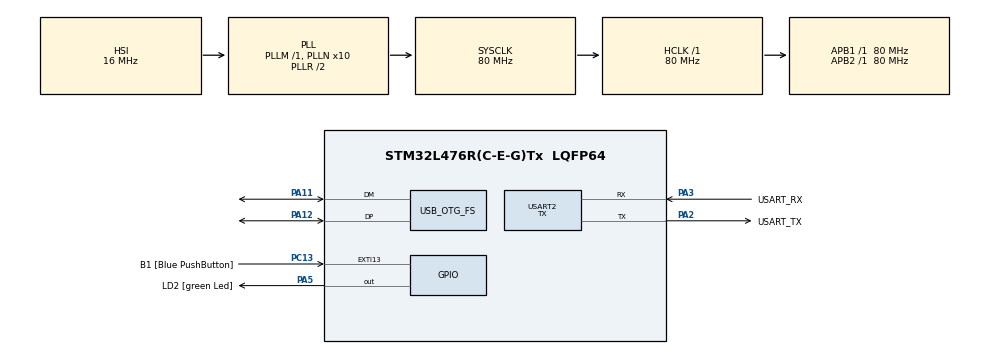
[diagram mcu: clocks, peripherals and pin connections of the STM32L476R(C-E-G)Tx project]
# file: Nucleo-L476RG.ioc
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Mcu.Family=STM32L4
Mcu.Name=STM32L476R(C-E-G)Tx
Mcu.Package=LQFP64
NVIC.OTG_FS_IRQn=true\:0\:0\:false\:false\:true\:false
NVIC.PriorityGroup=NVIC_PRIORITYGROUP_4
PA11.Mode=Device_Only
PA11.Signal=USB_OTG_FS_DM
PA12.Mode=Device_Only
PA12.Signal=USB_OTG_FS_DP
PA13\ (JTMS-SWDIO).GPIO_Label=TMS
PA13\ (JTMS-SWDIO).Mode=Trace_Asynchronous_SW
PA13\ (JTMS-SWDIO).Signal=SYS_JTMS-SWDIO
PA14\ (JTCK-SWCLK).GPIO_Label=TCK
PA14\ (JTCK-SWCLK).Mode=Trace_Asynchronous_SW
PA14\ (JTCK-SWCLK).Signal=SYS_JTCK-SWCLK
PA2.GPIO_Label=USART_TX
PA2.GPIO_Mode=GPIO_MODE_AF_PP
PA2.GPIO_PuPd=GPIO_NOPULL
PA2.GPIO_Speed=GPIO_SPEED_FREQ_VERY_HIGH
PA2.Mode=Asynchronous
PA2.Signal=USART2_TX
PA3.GPIO_Label=USART_RX
PA3.GPIO_Mode=GPIO_MODE_AF_PP
PA3.GPIO_PuPd=GPIO_NOPULL
PA3.GPIO_Speed=GPIO_SPEED_FREQ_VERY_HIGH
PA3.Mode=Asynchronous
PA3.Signal=USART2_RX
PA5.GPIO_Label=LD2 [green Led]
PA5.GPIO_ModeDefaultOutputPP=GPIO_MODE_OUTPUT_PP
PA5.GPIO_PuPd=GPIO_NOPULL
PA5.GPIO_Speed=GPIO_SPEED_FREQ_LOW
PA5.Signal=GPIO_Output
PB3\ (JTDO-TRACESWO).GPIO_Label=SWO
PB3\ (JTDO-TRACESWO).Mode=Trace_Asynchronous_SW
PB3\ (JTDO-TRACESWO).Signal=SYS_JTDO-SWO
PC13.GPIO_Label=B1 [Blue PushButton]
PC13.GPIO_ModeDefaultEXTI=GPIO_MODE_IT_FALLING
PC13.GPIO_PuPd=GPIO_NOPULL
PC13.Signal=GPXTI13
PC14-OSC32_IN\ (PC14).Mode=LSE-External-Oscillator
PC14-OSC32_IN\ (PC14).Signal=RCC_OSC32_IN
PC15-OSC32_OUT\ (PC15).Mode=LSE-External-Oscillator
PC15-OSC32_OUT\ (PC15).Signal=RCC_OSC32_OUT
PH0-OSC_IN\ (PH0).Signal=RCC_OSC_IN
PH1-OSC_OUT\ (PH1).Signal=RCC_OSC_OUT
ProjectManager.HeapSize=0x200
ProjectManager.StackSize=0xf000
ProjectManager.TargetToolchain=TrueSTUDIO
RCC.ADCFreq_Value=64000000
RCC.AHBFreq_Value=80000000
RCC.APB1Freq_Value=80000000
RCC.APB1TimFreq_Value=80000000
RCC.APB2Freq_Value=80000000
RCC.APB2TimFreq_Value=80000000
RCC.CK48CLockSelection=RCC_USBCLKSOURCE_MSI
RCC.CortexFreq_Value=80000000
RCC.HCLKFreq_Value=80000000
RCC.HSE_VALUE=8000000
RCC.HSI_VALUE=16000000
RCC.MSIClockRange=RCC_MSIRANGE_11
RCC.MSI_VALUE=48000000
RCC.PLLN=10
RCC.PLLSourceVirtual=RCC_PLLSOURCE_HSI
RCC.PREFETCH_ENABLE=1
RCC.RTCClockSelection=RCC_RTCCLKSOURCE_LSE
RCC.SYSCLKFreq_VALUE=80000000
RCC.SYSCLKSource=RCC_SYSCLKSOURCE_PLLCLK
RCC.USBFreq_Value=48000000
RCC.VCOOutputFreq_Value=160000000
RTC.Format=RTC_FORMAT_BIN
USART2.Mode=MODE_TX
USART2.VirtualMode-Asynchronous=VM_ASYNC
USART2.WordLength=WORDLENGTH_8B
USB_DEVICE.CLASS_NAME_FS=CDC
USB_DEVICE.VirtualMode=Cdc
USB_DEVICE.VirtualModeFS=Cdc_FS
USB_OTG_FS.VirtualMode=Device_Only
VP_RNG_VS_RNG.Mode=RNG_Activate
VP_RTC_VS_RTC_Activate.Mode=RTC_Enabled
VP_RTC_VS_RTC_Calendar.Mode=RTC_Calendar
VP_USB_DEVICE_VS_USB_DEVICE_CDC_FS.Mode=CDC_FS
board=NUCLEO-L476RG

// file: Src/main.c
/**
  ******************************************************************************
  * @file           : main.c
  * @brief          : Main program body
  ******************************************************************************
  * This notice applies to any and all portions of this file
  * that are not between comment pairs USER CODE BEGIN and
  * USER CODE END. Other portions of this file, whether
  * inserted by the user or by software development tools
  * are owned by their respective copyright owners.
  *
  * Copyright (c) 2018 STMicroelectronics International N.V.
  * All rights reserved.
  *
  * Redistribution and use in source and binary forms, with or without
  * modification, are permitted, provided that the following conditions are met:
  *
  * 1. Redistribution of source code must retain the above copyright notice,
  *    this list of conditions and the following disclaimer.
  * 2. Redistributions in binary form must reproduce the above copyright notice,
  *    this list of conditions and the following disclaimer in the documentation
  *    and/or other materials provided with the distribution.
  * 3. Neither the name of STMicroelectronics nor the names of other
  *    contributors to this software may be used to endorse or promote products
  *    derived from this software without specific written permission.
  * 4. This software, including modifications and/or derivative works of this
  *    software, must execute solely and exclusively on microcontroller or
  *    microprocessor devices manufactured by or for STMicroelectronics.
  * 5. Redistribution and use of this software other than as permitted under
  *    this license is void and will automatically terminate your rights under
  *    this license.
  *
  * THIS SOFTWARE IS PROVIDED BY STMICROELECTRONICS AND CONTRIBUTORS "AS IS"
  * AND ANY EXPRESS, IMPLIED OR STATUTORY WARRANTIES, INCLUDING, BUT NOT
  * LIMITED TO, THE IMPLIED WARRANTIES OF MERCHANTABILITY, FITNESS FOR A
  * PARTICULAR PURPOSE AND NON-INFRINGEMENT OF THIRD PARTY INTELLECTUAL PROPERTY
  * RIGHTS ARE DISCLAIMED TO THE FULLEST EXTENT PERMITTED BY LAW. IN NO EVENT
  * SHALL STMICROELECTRONICS OR CONTRIBUTORS BE LIABLE FOR ANY DIRECT, INDIRECT,
  * INCIDENTAL, SPECIAL, EXEMPLARY, OR CONSEQUENTIAL DAMAGES (INCLUDING, BUT NOT
  * LIMITED TO, PROCUREMENT OF SUBSTITUTE GOODS OR SERVICES; LOSS OF USE, DATA,
  * OR PROFITS; OR BUSINESS INTERRUPTION) HOWEVER CAUSED AND ON ANY THEORY OF
  * LIABILITY, WHETHER IN CONTRACT, STRICT LIABILITY, OR TORT (INCLUDING
  * NEGLIGENCE OR OTHERWISE) ARISING IN ANY WAY OUT OF THE USE OF THIS SOFTWARE,
  * EVEN IF ADVISED OF THE POSSIBILITY OF SUCH DAMAGE.
  *
  ******************************************************************************
  */
#include "main.h"
#include "stm32l4xx_hal.h"
#include "usb_device.h"

/* USER CODE BEGIN Includes */
#include <stdint.h>
#include <stdbool.h>
#include <time.h>
#include "TpmDevice.h"
#include "StmUtil.h"

/* USER CODE END Includes */

RNG_HandleTypeDef hrng;

RTC_HandleTypeDef hrtc;

UART_HandleTypeDef huart2;

/* USER CODE BEGIN PV */
/* Private variables ---------------------------------------------------------*/

/* USER CODE END PV */

void SystemClock_Config(void);
static void MX_GPIO_Init(void);
static void MX_RNG_Init(void);
static void MX_RTC_Init(void);
static void MX_USART2_UART_Init(void);

/* USER CODE BEGIN PFP */
/* Private function prototypes -----------------------------------------------*/
#define CPU_CORE_FREQUENCY_HZ 800000000 /* CPU core frequency in Hz */
void SWO_Init(uint32_t portBits, uint32_t cpuCoreFreqHz);
/* USER CODE END PFP */

int main(void)
{

  /* MCU Configuration----------------------------------------------------------*/

  /* Reset of all peripherals, Initializes the Flash interface and the Systick. */
  HAL_Init();

  /* Configure the system clock */
  SystemClock_Config();

  /* Initialize all configured peripherals */
  MX_GPIO_Init();
  MX_RNG_Init();
  MX_RTC_Init();
  MX_USART2_UART_Init();
  MX_USB_DEVICE_Init();
  /* USER CODE BEGIN 2 */
  InitializeITM();
  fprintf(stderr, "\r\n\r\n=========================\r\n"
                          "= Nucleo-L476RG TPM 2.0 =\r\n"
                          "=========================\r\n");
  printf("Nucleo-L476RG TPM 2.0\r\n");

  if(!TpmInitializeDevice())
  {
      _Error_Handler(__FILE__, __LINE__);
  }

  /* USER CODE END 2 */

  /* Infinite loop */
  while (1)
  {

  /* USER CODE BEGIN 3 */
      if(!TpmOperationsLoop())
      {
          _Error_Handler(__FILE__, __LINE__);
      }

  }
  /* USER CODE END 3 */

}

void SystemClock_Config(void)
{

  RCC_OscInitTypeDef RCC_OscInitStruct;
  RCC_ClkInitTypeDef RCC_ClkInitStruct;
  RCC_PeriphCLKInitTypeDef PeriphClkInit;

    /**Configure LSE Drive Capability
    */
  HAL_PWR_EnableBkUpAccess();

  __HAL_RCC_LSEDRIVE_CONFIG(RCC_LSEDRIVE_LOW);

    /**Initializes the CPU, AHB and APB busses clocks
    */
  RCC_OscInitStruct.OscillatorType = RCC_OSCILLATORTYPE_HSI|RCC_OSCILLATORTYPE_LSE
                              |RCC_OSCILLATORTYPE_MSI;
  RCC_OscInitStruct.LSEState = RCC_LSE_ON;
  RCC_OscInitStruct.HSIState = RCC_HSI_ON;
  RCC_OscInitStruct.HSICalibrationValue = 16;
  RCC_OscInitStruct.MSIState = RCC_MSI_ON;
  RCC_OscInitStruct.MSICalibrationValue = 0;
  RCC_OscInitStruct.MSIClockRange = RCC_MSIRANGE_11;
  RCC_OscInitStruct.PLL.PLLState = RCC_PLL_ON;
  RCC_OscInitStruct.PLL.PLLSource = RCC_PLLSOURCE_HSI;
  RCC_OscInitStruct.PLL.PLLM = 1;  // <-- This one gets dropped by V1.11.0 add me manually back in when CubeMX ran
  RCC_OscInitStruct.PLL.PLLN = 10;
  RCC_OscInitStruct.PLL.PLLP = RCC_PLLP_DIV7;
  RCC_OscInitStruct.PLL.PLLQ = RCC_PLLQ_DIV2;
  RCC_OscInitStruct.PLL.PLLR = RCC_PLLR_DIV2;
  if (HAL_RCC_OscConfig(&RCC_OscInitStruct) != HAL_OK)
  {
    _Error_Handler(__FILE__, __LINE__);
  }

    /**Initializes the CPU, AHB and APB busses clocks
    */
  RCC_ClkInitStruct.ClockType = RCC_CLOCKTYPE_HCLK|RCC_CLOCKTYPE_SYSCLK
                              |RCC_CLOCKTYPE_PCLK1|RCC_CLOCKTYPE_PCLK2;
  RCC_ClkInitStruct.SYSCLKSource = RCC_SYSCLKSOURCE_PLLCLK;
  RCC_ClkInitStruct.AHBCLKDivider = RCC_SYSCLK_DIV1;
  RCC_ClkInitStruct.APB1CLKDivider = RCC_HCLK_DIV1;
  RCC_ClkInitStruct.APB2CLKDivider = RCC_HCLK_DIV1;

  if (HAL_RCC_ClockConfig(&RCC_ClkInitStruct, FLASH_LATENCY_4) != HAL_OK)
  {
    _Error_Handler(__FILE__, __LINE__);
  }

  PeriphClkInit.PeriphClockSelection = RCC_PERIPHCLK_RTC|RCC_PERIPHCLK_USART2
                              |RCC_PERIPHCLK_USB|RCC_PERIPHCLK_RNG;
  PeriphClkInit.Usart2ClockSelection = RCC_USART2CLKSOURCE_PCLK1;
  PeriphClkInit.RTCClockSelection = RCC_RTCCLKSOURCE_LSE;
  PeriphClkInit.UsbClockSelection = RCC_USBCLKSOURCE_MSI;
  PeriphClkInit.RngClockSelection = RCC_RNGCLKSOURCE_MSI;
  if (HAL_RCCEx_PeriphCLKConfig(&PeriphClkInit) != HAL_OK)
  {
    _Error_Handler(__FILE__, __LINE__);
  }

    /**Configure the main internal regulator output voltage
    */
  if (HAL_PWREx_ControlVoltageScaling(PWR_REGULATOR_VOLTAGE_SCALE1) != HAL_OK)
  {
    _Error_Handler(__FILE__, __LINE__);
  }

    /**Configure the Systick interrupt time
    */
  HAL_SYSTICK_Config(HAL_RCC_GetHCLKFreq()/1000);

    /**Configure the Systick
    */
  HAL_SYSTICK_CLKSourceConfig(SYSTICK_CLKSOURCE_HCLK);

    /**Enable MSI Auto calibration
    */
  HAL_RCCEx_EnableMSIPLLMode();

  /* SysTick_IRQn interrupt configuration */
  HAL_NVIC_SetPriority(SysTick_IRQn, 0, 0);
}

/* RNG init function */
static void MX_RNG_Init(void)
{

  hrng.Instance = RNG;
  if (HAL_RNG_Init(&hrng) != HAL_OK)
  {
    _Error_Handler(__FILE__, __LINE__);
  }

}

/* RTC init function */
static void MX_RTC_Init(void)
{

  RTC_TimeTypeDef sTime;
  RTC_DateTypeDef sDate;

    /**Initialize RTC Only
    */
  hrtc.Instance = RTC;
if(HAL_RTCEx_BKUPRead(&hrtc, RTC_BKP_DR0) != 0x32F2){
  hrtc.Init.HourFormat = RTC_HOURFORMAT_24;
  hrtc.Init.AsynchPrediv = 127;
  hrtc.Init.SynchPrediv = 255;
  hrtc.Init.OutPut = RTC_OUTPUT_DISABLE;
  hrtc.Init.OutPutRemap = RTC_OUTPUT_REMAP_NONE;
  hrtc.Init.OutPutPolarity = RTC_OUTPUT_POLARITY_HIGH;
  hrtc.Init.OutPutType = RTC_OUTPUT_TYPE_OPENDRAIN;
  if (HAL_RTC_Init(&hrtc) != HAL_OK)
  {
    _Error_Handler(__FILE__, __LINE__);
  }

    /**Initialize RTC and set the Time and Date
    */
  sTime.Hours = 0;
  sTime.Minutes = 0;
  sTime.Seconds = 0;
  sTime.DayLightSaving = RTC_DAYLIGHTSAVING_NONE;
  sTime.StoreOperation = RTC_STOREOPERATION_RESET;
  if (HAL_RTC_SetTime(&hrtc, &sTime, RTC_FORMAT_BIN) != HAL_OK)
  {
    _Error_Handler(__FILE__, __LINE__);
  }

  sDate.WeekDay = RTC_WEEKDAY_MONDAY;
  sDate.Month = RTC_MONTH_JANUARY;
  sDate.Date = 1;
  sDate.Year = 0;

  if (HAL_RTC_SetDate(&hrtc, &sDate, RTC_FORMAT_BIN) != HAL_OK)
  {
    _Error_Handler(__FILE__, __LINE__);
  }

    HAL_RTCEx_BKUPWrite(&hrtc,RTC_BKP_DR0,0x32F2);
  }

}

/* USART2 init function */
static void MX_USART2_UART_Init(void)
{

  huart2.Instance = USART2;
  huart2.Init.BaudRate = 115200;
  huart2.Init.WordLength = UART_WORDLENGTH_8B;
  huart2.Init.StopBits = UART_STOPBITS_1;
  huart2.Init.Parity = UART_PARITY_NONE;
  huart2.Init.Mode = UART_MODE_TX;
  huart2.Init.HwFlowCtl = UART_HWCONTROL_NONE;
  huart2.Init.OverSampling = UART_OVERSAMPLING_16;
  huart2.Init.OneBitSampling = UART_ONE_BIT_SAMPLE_DISABLE;
  huart2.AdvancedInit.AdvFeatureInit = UART_ADVFEATURE_NO_INIT;
  if (HAL_UART_Init(&huart2) != HAL_OK)
  {
    _Error_Handler(__FILE__, __LINE__);
  }

}

/** Configure pins as
        * Analog
        * Input
        * Output
        * EVENT_OUT
        * EXTI
*/
static void MX_GPIO_Init(void)
{

  GPIO_InitTypeDef GPIO_InitStruct;

  /* GPIO Ports Clock Enable */
  __HAL_RCC_GPIOC_CLK_ENABLE();
  __HAL_RCC_GPIOH_CLK_ENABLE();
  __HAL_RCC_GPIOA_CLK_ENABLE();
  __HAL_RCC_GPIOB_CLK_ENABLE();

  /*Configure GPIO pin Output Level */
  HAL_GPIO_WritePin(LD2_GPIO_Port, LD2_Pin, GPIO_PIN_RESET);

  /*Configure GPIO pin : B1_Pin */
  GPIO_InitStruct.Pin = B1_Pin;
  GPIO_InitStruct.Mode = GPIO_MODE_IT_FALLING;
  GPIO_InitStruct.Pull = GPIO_NOPULL;
  HAL_GPIO_Init(B1_GPIO_Port, &GPIO_InitStruct);

  /*Configure GPIO pin : LD2_Pin */
  GPIO_InitStruct.Pin = LD2_Pin;
  GPIO_InitStruct.Mode = GPIO_MODE_OUTPUT_PP;
  GPIO_InitStruct.Pull = GPIO_NOPULL;
  GPIO_InitStruct.Speed = GPIO_SPEED_FREQ_LOW;
  HAL_GPIO_Init(LD2_GPIO_Port, &GPIO_InitStruct);

}

void _Error_Handler(char *file, int line)
{
  /* USER CODE BEGIN Error_Handler_Debug */
  dbgPrint("PANIC: EXECUTION HALTED %s@%d\r\n", file, line);
  /* User can add his own implementation to report the HAL error return state */
  while(1)
  {
  }
  /* USER CODE END Error_Handler_Debug */
}

/************************ (C) COPYRIGHT STMicroelectronics *****END OF FILE****/
